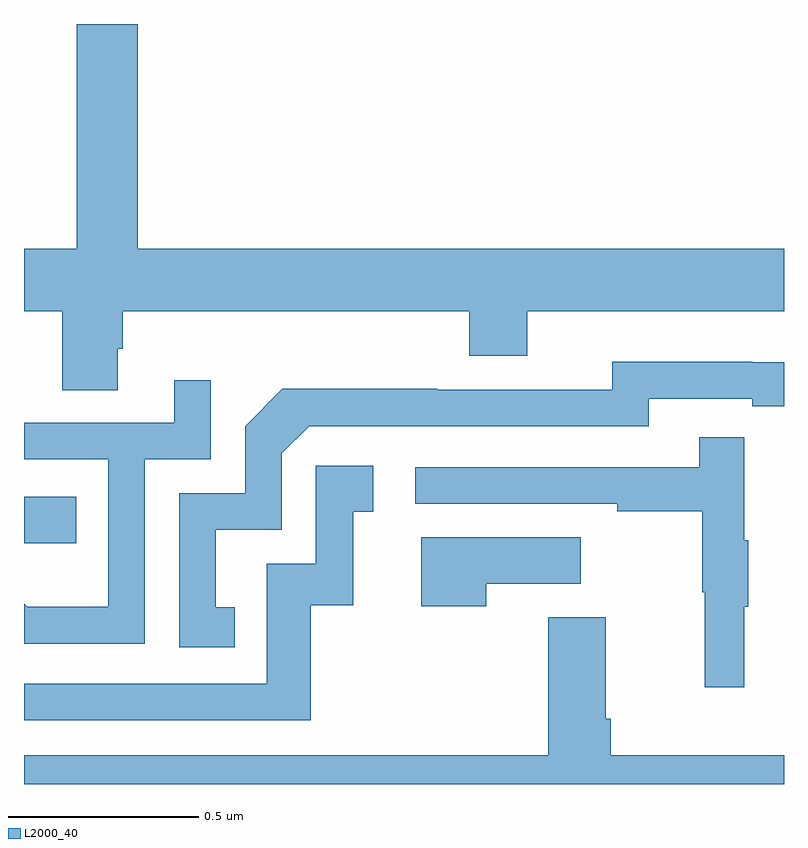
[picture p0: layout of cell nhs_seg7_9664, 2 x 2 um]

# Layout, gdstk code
import gdstk
lib = gdstk.Library(unit=1e-6, precision=1e-09)
def R(c, l, rs):  # rectangles x0, y0, x1, y1
    for r in rs: c.add(gdstk.rectangle(r[:2], r[2:], *l))
def P(c, l, *ps):  # polygons
    for p in ps: c.add(gdstk.Polygon(p, *l))
L2000_40 = (2000, 40)

nhs_seg7_9664 = lib.new_cell('nhs_seg7_9664')
R(nhs_seg7_9664, L2000_40, [(240,1038.633,240.137,1038.756)])
P(nhs_seg7_9664, L2000_40, [(240.247,1039.146),(240.26,1039.146),(240.26,1039.244),(241.172,1039.244),(241.172,1039.127),(241.324,1039.127),(241.324,1039.244),(242,1039.244),(242,1039.408),(240.299,1039.408),(240.299,1040),(240.139,1040),(240.139,1039.408),(240,1039.408),(240,1039.244),(240.1,1039.244),(240.1,1039.036),(240.247,1039.036)],
  [(240.554,1038.465),(240.505,1038.465),(240.505,1038.669),(240.678,1038.669),(240.678,1038.87),(240.75,1038.942),(241.644,1038.942),(241.644,1039.014),(241.916,1039.014),(241.916,1038.994),(242,1038.994),(242,1039.11),(241.916,1039.11),(241.916,1039.111),(241.548,1039.111),(241.548,1039.038),(241.088,1039.038),(241.088,1039.04),(240.68,1039.04),(240.582,1038.942),(240.582,1038.765),(240.408,1038.765),(240.408,1038.36),(240.554,1038.36)],
  [(240.318,1038.855),(240.492,1038.855),(240.492,1039.063),(240.395,1039.063),(240.395,1038.951),(240,1038.951),(240,1038.855),(240.222,1038.855),(240.222,1038.466),(240.008,1038.466),(240,1038.474),(240,1038.369),(240.318,1038.369)],
  [(241.895,1038.467),(241.906,1038.467),(241.906,1038.641),(241.895,1038.641),(241.895,1038.913),(241.777,1038.913),(241.777,1038.834),(241.029,1038.834),(241.029,1038.738),(241.561,1038.738),(241.561,1038.718),(241.785,1038.718),(241.785,1038.504),(241.792,1038.504),(241.792,1038.255),(241.895,1038.255)],
  [(240.755,1038.471),(240.866,1038.471),(240.866,1038.717),(240.919,1038.717),(240.919,1038.838),(240.768,1038.838),(240.768,1038.579),(240.639,1038.579),(240.639,1038.264),(240,1038.264),(240,1038.168),(240.755,1038.168)],
  [(241.217,1038.527),(241.465,1038.527),(241.465,1038.649),(241.046,1038.649),(241.046,1038.468),(241.217,1038.468)],
  [(242,1038.076),(241.544,1038.076),(241.544,1038.172),(241.531,1038.172),(241.531,1038.439),(241.379,1038.439),(241.379,1038.076),(240,1038.076),(240,1038),(242,1038)])

lib.write_gds('nhs_seg7_9664.gds')
